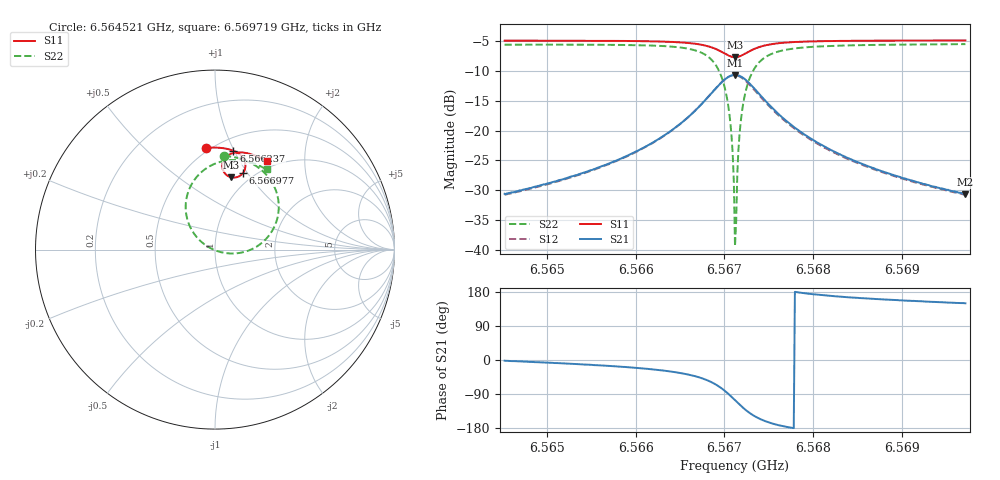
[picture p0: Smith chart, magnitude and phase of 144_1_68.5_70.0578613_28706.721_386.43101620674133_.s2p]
#  HZ  S  RI  R  50.00
! Rohde & Schwarz Vector Network Analyzer
! Rohde-Schwarz,ZNB20-2Port,1311601062101988,3.16
! Created: UTC 3/20/2024, 5:10:08 PM
! freq[Hz]  re:S11  im:S11  re:S21  im:S21  re:S12  im:S12  re:S22  im:S22
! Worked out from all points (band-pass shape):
!   401 points, 6.564521 GHz to 6.569719 GHz, reference 50 ohm
!   highest |S21| = -10.65 dB at 6.56712 GHz (marker M1); lowest = -30.7 dB at 6.569719 GHz (marker M2)
!   |S21| within 3 dB of the highest: 6.566861 GHz to 6.56738 GHz (519.2 kHz wide, 0.00791 % of centre)
!   lowest |S11| = -7.7 dB at 6.56712 GHz (marker M3), VSWR 2.41, Z = 41.9 + j40.7 ohm
!   |S11| at or under -10 dB: nowhere
!   |S22| runs from -39.4 to -5.5 dB; largest |S21 - S12| = 0.014
!   S11 on the Smith chart (normalised r, x): 6.564521 GHz: 0.47, +0.80; 6.566237 GHz: 0.62, +0.99; 6.566977 GHz: 0.89, +0.95; 6.569719 GHz: 0.90, +1.32
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6.5645213e9  -0.0503 0.5669  0.0294 -0.000939  0.0288 -0.00137  0.0503 0.5234
6.5653919e9  0.0217 0.5673  0.0428 -0.00866  0.0422 -0.0093  0.1345 0.5083
6.5662365e9  0.1024 0.5506  0.0746 -0.0361  0.0735 -0.037  0.2502 0.4506
6.5662625e9  0.1052 0.5495  0.0761 -0.038  0.0751 -0.0388  0.255 0.4467
6.5665614e9  0.1405 0.5277  0.0992 -0.0742  0.0974 -0.0757  0.3172 0.3752
6.5667693e9  0.1648 0.4936  0.1122 -0.1339  0.1095 -0.1366  0.3545 0.2604
6.5668862e9  0.1693 0.4597  0.1011 -0.1933  0.0962 -0.1968  0.339 0.1473
6.5669772e9  0.1561 0.4267  0.0613 -0.2495  0.0526 -0.2527  0.2666 0.0421
6.5670551e9  0.1257 0.4047  -0.00754 -0.2845  -0.0198 -0.2839  0.1393 -0.0182
6.5670811e9  0.1121 0.4016  -0.0365 -0.2877  -0.0493 -0.2852  0.0872 -0.0218
6.5671071e9  0.0979 0.4015  -0.0665 -0.2856  -0.079 -0.2804  0.034 -0.0145
6.5671201e9  0.0907 0.4026  -0.0811 -0.282  -0.0936 -0.276  0.00823 -0.0068
6.5671331e9  0.0837 0.4046  -0.0955 -0.2772  -0.1074 -0.2699  -0.0165 0.00363
6.5671461e9  0.0771 0.4074  -0.1091 -0.271  -0.1206 -0.2626  -0.04 0.0165
6.5671721e9  0.0651 0.4149  -0.1341 -0.2549  -0.1437 -0.2448  -0.0814 0.048
6.5671981e9  0.0552 0.4244  -0.1547 -0.2351  -0.1624 -0.2238  -0.1145 0.0857
6.56725e9  0.0431 0.4467  -0.1814 -0.1902  -0.1852 -0.1784  -0.154 0.1676
6.567315e9  0.0407 0.4743  -0.1913 -0.1369  -0.1915 -0.126  -0.1624 0.2621
6.5675619e9  0.0794 0.5296  -0.1464 -0.0285  -0.1432 -0.0239  -0.0597 0.4451
6.5679907e9  0.1425 0.5423  -0.0837 0.0091  -0.0816 0.0104  0.0804 0.4981
6.5688613e9  0.2254 0.5226  -0.0405 0.0155  -0.0395 0.0158  0.2112 0.4813
6.5697189e9  0.2894 0.492  -0.0251 0.0147  -0.0247 0.0148  0.2885 0.4467
